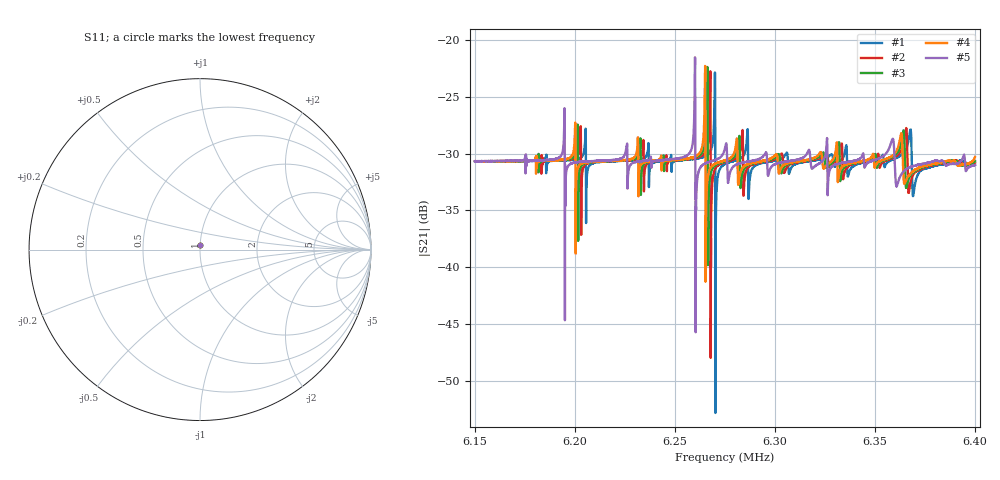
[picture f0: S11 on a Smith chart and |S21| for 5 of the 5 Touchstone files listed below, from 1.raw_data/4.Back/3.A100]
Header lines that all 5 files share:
!CETC41,AV3656A,ZGL00048,1.3.2
!Calibration ON (Full Solt 2-Port(Omit Isolation))
!Measurements: S11 S21 S12 S22
# Hz  S  dB  R 50.000
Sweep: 6.15 MHz to 6.4 MHz
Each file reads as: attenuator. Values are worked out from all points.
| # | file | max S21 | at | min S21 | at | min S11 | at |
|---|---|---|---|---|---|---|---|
| 1 | A100_25C.s2p | -22.85 dB | 6.27 MHz | -52.9 dB | 6.2702 MHz | -31.2 dB | 6.3968 MHz |
| 2 | A100_35C.s2p | -22.74 dB | 6.2677 MHz | -48.0 dB | 6.2679 MHz | -31.2 dB | 6.3975 MHz |
| 3 | A100_40C.s2p | -22.36 dB | 6.2662 MHz | -39.8 dB | 6.2664 MHz | -31.2 dB | 6.3903 MHz |
| 4 | A100_45C.s2p | -22.27 dB | 6.2651 MHz | -41.3 dB | 6.2653 MHz | -31.3 dB | 6.3971 MHz |
| 5 | A100_65C.s2p | -21.50 dB | 6.26 MHz | -45.7 dB | 6.2603 MHz | -31.3 dB | 6.3934 MHz |
